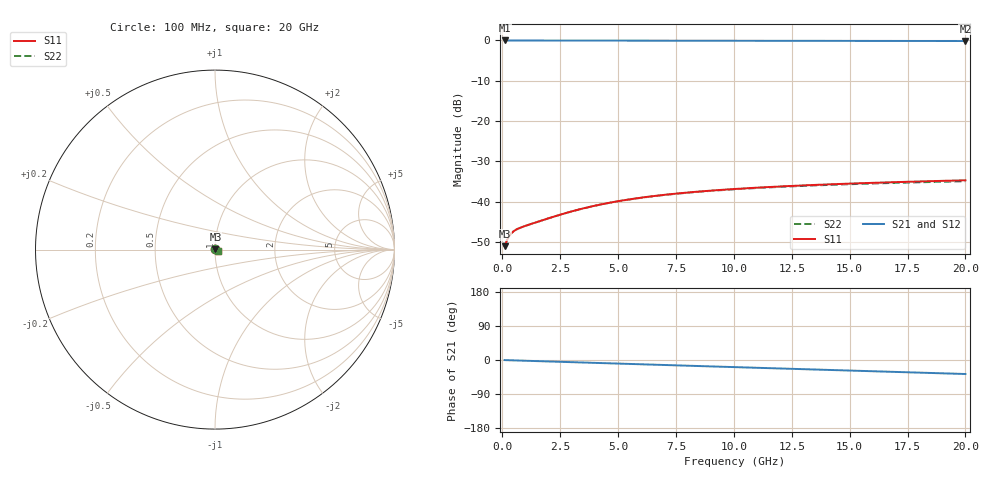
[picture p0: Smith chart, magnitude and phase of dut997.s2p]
! Touchstone file exported from HFSS 2026.1.0
!  File:  C:/ffzhzh/LocalFiles/Ansys_Project_Files/temp_train_TMRDL_997_1783159462_18472.aedt
!  Generated:  06:05:28 PM Jul  4, 2026
!  Design:  TMRDL
!  Project:  temp_train_TMRDL_997_1783159462_18472
! Variables:
!  h_bsmrdl = 2um
!  h_ox = 20um
!  h_rdl = 5um
!  h_sub = 80um
!  h_tmrdl = 4.13um
!  h_tsv = 80um
!  h_via = 3um
!  l_bsmrdl = 300um
!  l_sub = 1060.15um
!  l_tmrdl = 660.15um
!  m_sub = 200um
!  pitch = 28um
!  r_tsv = 6um
!  s_tmrdl = 10um
!  w_bsmrdl = 18um
!  w_sub = 500um
!  w_tmrdl = 23.25um
!  x_tsv_center1 = 671.775um
!  x_tsv_center2 = 989.775um
!  x_tsv_center3 = 1673.175um
!  x_tsv_center4 = 1991.175um
!  x_tsv_center5 = 2674.575um
!  x_tsv_center6 = 2992.575um
# GHz S MA R 50.000000
! Terminal data exported
! Port[1] = TM_RDL1_1_T1
! Port[2] = TM_RDL1_1_T2
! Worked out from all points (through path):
!   200 points, 100 MHz to 20 GHz, reference 50 ohm
!   highest |S21| = -0.02 dB at 100 MHz (marker M1); lowest = -0.2 dB at 20 GHz (marker M2)
!   group delay of S21, straight-line fit = 5.11 ps
!   lowest |S11| = -51.0 dB at 100 MHz (marker M3), VSWR 1.01, Z = 50.3 + j0.0716 ohm
!   |S11| at or under -10 dB: start of sweep to end of sweep
!   |S22| runs from -51.0 to -34.9 dB; largest |S21 - S12| = 4.3e-15
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0.1  0.00282 14.6  0.9973 -0.2  0.9973 -0.2  0.00282 14.6
! Gamma 0 0 0 0
! Port Impedance 50 0 50 0
0.2  0.003334 20.9  0.9969 -0.4  0.9969 -0.4  0.003334 20.9
0.3  0.003782 22.4  0.9965 -0.6  0.9965 -0.6  0.003781 22.3
0.4  0.004109 22.4  0.9962 -0.8  0.9962 -0.8  0.004107 22.4
0.5  0.004345 22.3  0.996 -1.0  0.996 -1.0  0.004343 22.3
0.6  0.004526 22.3  0.9958 -1.2  0.9958 -1.2  0.004523 22.3
0.7  0.004674 22.5  0.9957 -1.4  0.9957 -1.4  0.004671 22.5
1.1  0.005154 24.5  0.9954 -2.1  0.9954 -2.1  0.005149 24.5
2.2  0.006518 29.8  0.9946 -4.2  0.9946 -4.2  0.006511 29.9
2.9  0.007474 30.8  0.994 -5.6  0.994 -5.6  0.007463 30.9
3.5  0.00829 30.5  0.9934 -6.7  0.9934 -6.7  0.008275 30.6
4.2  0.009204 29.3  0.9927 -8.0  0.9927 -8.0  0.009183 29.4
5  0.01017 27.1  0.9918 -9.5  0.9918 -9.5  0.01014 27.3
5.9  0.01115 24.2  0.9909 -11.2  0.9909 -11.2  0.01111 24.4
6.8  0.01202 21.0  0.99 -12.9  0.99 -12.9  0.01196 21.3
7.5  0.01263 18.5  0.9893 -14.1  0.9893 -14.1  0.01256 18.8
8.3  0.01325 15.7  0.9886 -15.6  0.9886 -15.6  0.01317 15.9
10.1  0.01446 9.3  0.9871 -18.9  0.9871 -18.9  0.01432 9.7
11.6  0.01529 4.3  0.986 -21.7  0.986 -21.7  0.01511 4.7
13.4  0.01615 -1.6  0.9848 -24.9  0.9848 -24.9  0.01591 -1.1
16.7  0.01743 -11.8  0.9829 -31.0  0.9829 -31.0  0.01707 -11.3
20  0.01847 -21.5  0.9811 -37.0  0.9811 -37.0  0.01794 -20.9
